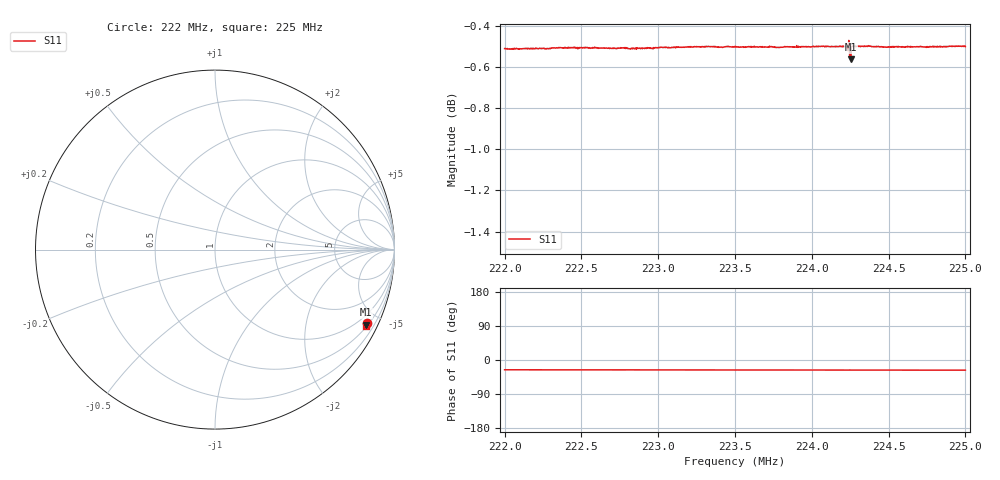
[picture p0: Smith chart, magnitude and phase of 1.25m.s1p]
! Calibrated averaged scanner-service zoom
# Hz S RI R 50
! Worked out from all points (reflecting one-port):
!   1001 points, 222 MHz to 225 MHz, reference 50 ohm
!   lowest |S11| = -0.6 dB at 224.25 MHz (marker M1), VSWR 30.88, Z = 30.3 - j208 ohm
!   phase of S11 starts at -26 deg and turns -1 deg over the sweep
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2.22e8  0.8486 -0.4109
2.22207e8  0.8484 -0.4119
2.22375e8  0.8481 -0.413
2.2275e8  0.847 -0.4148
2.22789e8  0.8472 -0.4151
2.22843e8  0.847 -0.4143
2.22927e8  0.8468 -0.4157
2.23125e8  0.8467 -0.4165
2.235e8  0.846 -0.419
2.23743e8  0.8452 -0.42
2.23791e8  0.8451 -0.4196
2.23875e8  0.845 -0.4201
2.23989e8  0.845 -0.4204
2.24214e8  0.8444 -0.422
2.24223e8  0.8443 -0.422
2.24226e8  0.8443 -0.422
2.24229e8  0.8443 -0.4219
2.24232e8  0.8443 -0.4224
2.24238e8  0.8445 -0.4221
2.2425e8  0.8445 -0.4221
2.24253e8  0.8389 -0.418
2.24262e8  0.8444 -0.4223
2.24265e8  0.8444 -0.4225
2.24277e8  0.8442 -0.4224
2.2437e8  0.8445 -0.4229
2.24478e8  0.8435 -0.4233
2.24625e8  0.8433 -0.4238
2.25e8  0.8425 -0.4256
